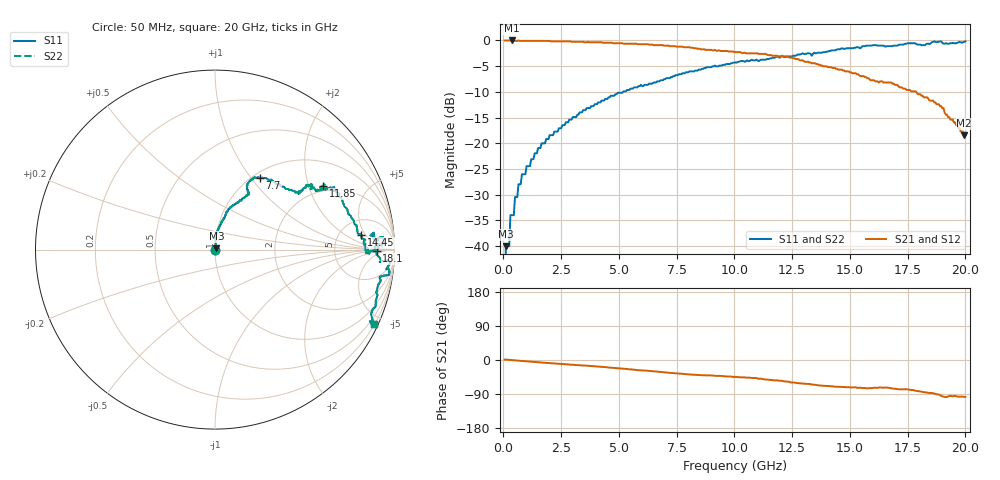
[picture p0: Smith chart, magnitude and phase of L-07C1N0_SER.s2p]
#	mhz	s	ma	r	50
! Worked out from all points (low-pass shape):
!   400 points, 50 MHz to 20 GHz, reference 50 ohm
!   highest |S21| = 0.00 dB at 350 MHz (marker M1); lowest = -18.4 dB at 19.95 GHz (marker M2)
!   |S21| within 3 dB of the highest: start of sweep to 11.86 GHz; 12.03979 GHz to 12.06021 GHz (20.43 MHz wide, 0.17 % of centre)
!   lowest |S11| = -40.0 dB at 100 MHz (marker M3), VSWR 1.02, Z = 50.8 + j0.643 ohm
!   |S11| at or under -10 dB: start of sweep to 5.181 GHz
!   |S22| runs from - to -0.2 dB; largest |S21 - S12| = 0
!   S11 on the Smith chart (normalised r, x): 50 MHz: 1.00, +0.00; 7.7 GHz: 1.08, +1.11; 11.85 GHz: 1.81, +2.51; 14.45 GHz: 8.09, +4.02; 18.1 GHz: 19, -1; 20 GHz: 0.21, -4.46
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50  0 11.1  1 1.1  1 1.1  0 11.1
100  0.01 39.3  1 1.0  1 1.0  0.01 39.3
250  0.01 75.8  1 0.4  1 0.4  0.01 75.8
300  0.02 76.4  1 0.1  1 0.1  0.02 76.4
350  0.02 77.1  1 -0.2  1 -0.2  0.02 77.1
450  0.02 75.1  0.99 -0.5  0.99 -0.5  0.02 75.1
500  0.03 79.7  0.99 -0.9  0.99 -0.9  0.03 79.7
800  0.05 86.3  0.99 -2.5  0.99 -2.5  0.05 86.3
1500  0.09 85.4  0.99 -5.9  0.99 -5.9  0.09 85.4
3400  0.2 73.0  0.97 -14.3  0.97 -14.3  0.2 73.0
6700  0.4 63.5  0.9 -31.1  0.9 -31.1  0.4 63.5
7700  0.47 57.7  0.87 -36.4  0.87 -36.4  0.47 57.7
10050  0.61 34.3  0.77 -44.5  0.77 -44.5  0.61 34.3
11850  0.7 30.4  0.71 -53.7  0.71 -53.7  0.7 30.4
13350  0.71 28.5  0.6 -64.7  0.6 -64.7  0.71 28.5
14450  0.82 5.7  0.53 -70.6  0.53 -70.6  0.82 5.7
15350  0.86 -1.5  0.47 -73.7  0.47 -73.7  0.86 -1.5
16700  0.88 5.3  0.39 -73.7  0.39 -73.7  0.88 5.3
18100  0.9 -0.4  0.29 -83.8  0.29 -83.8  0.9 -0.4
18650  0.98 -4.1  0.25 -88.4  0.25 -88.4  0.98 -4.1
19950  0.97 -25.6  0.12 -97.5  0.12 -97.5  0.97 -25.6
20000  0.98 -25.2  0.12 -97.3  0.12 -97.3  0.98 -25.2
